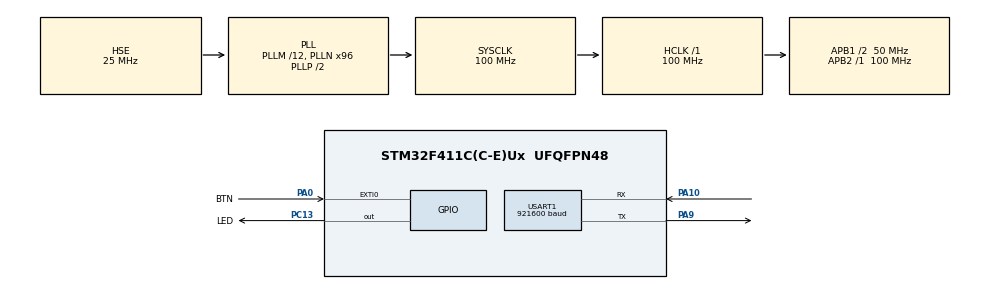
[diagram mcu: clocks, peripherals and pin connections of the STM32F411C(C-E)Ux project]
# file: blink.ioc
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Mcu.Family=STM32F4
Mcu.Name=STM32F411C(C-E)Ux
Mcu.Package=UFQFPN48
NVIC.EXTI0_IRQn=true\:0\:0\:false\:false\:true\:true\:true\:true
NVIC.PriorityGroup=NVIC_PRIORITYGROUP_4
NVIC.RCC_IRQn=true\:0\:0\:false\:false\:true\:true\:false\:true
PA0-WKUP.GPIO_Label=BTN
PA0-WKUP.GPIO_ModeDefaultEXTI=GPIO_MODE_IT_RISING_FALLING
PA0-WKUP.GPIO_PuPd=GPIO_PULLUP
PA0-WKUP.Signal=GPXTI0
PA10.Mode=Asynchronous
PA10.Signal=USART1_RX
PA13.Mode=Serial_Wire
PA13.Signal=SYS_JTMS-SWDIO
PA14.Mode=Serial_Wire
PA14.Signal=SYS_JTCK-SWCLK
PA9.Mode=Asynchronous
PA9.Signal=USART1_TX
PC13-ANTI_TAMP.GPIO_Label=LED
PC13-ANTI_TAMP.GPIO_ModeDefaultOutputPP=GPIO_MODE_OUTPUT_OD
PC13-ANTI_TAMP.PinState=GPIO_PIN_SET
PC13-ANTI_TAMP.Signal=GPIO_Output
PH0\ -\ OSC_IN.Mode=HSE-External-Oscillator
PH0\ -\ OSC_IN.Signal=RCC_OSC_IN
PH1\ -\ OSC_OUT.Mode=HSE-External-Oscillator
PH1\ -\ OSC_OUT.Signal=RCC_OSC_OUT
ProjectManager.HeapSize=0x200
ProjectManager.StackSize=0x400
ProjectManager.TargetToolchain=STM32CubeIDE
RCC.48MHZClocksFreq_Value=50000000
RCC.AHBFreq_Value=100000000
RCC.APB1CLKDivider=RCC_HCLK_DIV2
RCC.APB1Freq_Value=50000000
RCC.APB1TimFreq_Value=100000000
RCC.APB2Freq_Value=100000000
RCC.APB2TimFreq_Value=100000000
RCC.CortexFreq_Value=100000000
RCC.HCLKFreq_Value=100000000
RCC.HSE_VALUE=25000000
RCC.HSI_VALUE=16000000
RCC.LSE_VALUE=32768
RCC.PLLM=12
RCC.PLLN=96
RCC.PLLSourceVirtual=RCC_PLLSOURCE_HSE
RCC.SYSCLKFreq_VALUE=100000000
RCC.SYSCLKSource=RCC_SYSCLKSOURCE_PLLCLK
RCC.VCOOutputFreq_Value=200000000
USART1.BaudRate=921600
USART1.VirtualMode=VM_ASYNC
board=custom

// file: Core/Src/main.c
/* USER CODE BEGIN Header */
/**
 ******************************************************************************
 * @file           : main.c
 * @brief          : Main program body
 ******************************************************************************
 * @attention
 *
 * <h2><center>&copy; Copyright (c) 2022 Lars Boegild Thomsen <lbthomsen@gmail.com>
 * All rights reserved.</center></h2>
 *
 * This software component is licensed under MIT license,
 * the "License"; You may not use this file except in compliance with the
 * License. You may obtain a copy of the License at:
 *                        opensource.org/licenses/MIT
 *
 ******************************************************************************
 */
/* USER CODE END Header */
#include "main.h"

/* USER CODE BEGIN Includes */
#include "stdio.h"
/* USER CODE END Includes */

/* USER CODE BEGIN PD */
//#define DFU_BOOT_FLAG 0xDEADBEEF
/* USER CODE END PD */

UART_HandleTypeDef huart1;

/* USER CODE BEGIN PV */
extern int _estack;
uint32_t *dfu_boot_flag;
uint32_t push_count = 0;
uint32_t cnt = 0;
/* USER CODE END PV */

void SystemClock_Config(void);
static void MX_GPIO_Init(void);
static void MX_USART1_UART_Init(void);

/* USER CODE BEGIN 0 */

// Send printf to uart1
int _write(int fd, char *ptr, int len) {
	HAL_StatusTypeDef hstatus;

	if (fd == 1 || fd == 2) {
		hstatus = HAL_UART_Transmit(&huart1, (uint8_t*) ptr, len,
				HAL_MAX_DELAY);
		if (hstatus == HAL_OK)
			return len;
		else
			return -1;
	}
	return -1;
}

//void HAL_GPIO_EXTI_Callback(uint16_t GPIO_Pin) {
//	if (GPIO_Pin == BTN_Pin) // If the button
//	{
//		GPIO_PinState pinState = HAL_GPIO_ReadPin(BTN_GPIO_Port, BTN_Pin);
//		if (pinState == GPIO_PIN_RESET) {
//			push_count = HAL_GetTick();
//		} else {
//			if (HAL_GetTick() - push_count > 1000) {
//				// Set the boot flag and reset the mcu.  The bootloader
//				// will detect the flag and stay in dfu mode.  This will
//				// screw up the stack but that won't matter since the device
//				// is reset immediately after.
//				*dfu_boot_flag = DFU_BOOT_FLAG;
//				HAL_NVIC_SystemReset();
//			}
//			push_count = 0;
//		}
//
//	}
//}

/* USER CODE END 0 */

int main(void)
{
  /* USER CODE BEGIN 1 */
	//dfu_boot_flag = (uint32_t*) (&_estack - 100); // 100 bytes below top of stack
  /* USER CODE END 1 */

  /* MCU Configuration--------------------------------------------------------*/

  /* Reset of all peripherals, Initializes the Flash interface and the Systick. */
  HAL_Init();

  /* Configure the system clock */
  SystemClock_Config();

  /* Initialize all configured peripherals */
  MX_GPIO_Init();
  MX_USART1_UART_Init();

  /* Infinite loop */
  /* USER CODE BEGIN WHILE */

	uint32_t now = 0, blink = 0, print = 0;

	while (1) {

		now = HAL_GetTick();

		if (now - blink >= 500) {

			HAL_GPIO_TogglePin(LED_GPIO_Port, LED_Pin);

			blink = now;

		}

		if (now - print >= 1000) {

			printf("Tick, now = %lu\n", now);
			++cnt;

			print = now;
		}

    /* USER CODE END WHILE */

	}
}

void SystemClock_Config(void)
{
  RCC_OscInitTypeDef RCC_OscInitStruct = {0};
  RCC_ClkInitTypeDef RCC_ClkInitStruct = {0};

  /** Configure the main internal regulator output voltage
  */
  __HAL_RCC_PWR_CLK_ENABLE();
  __HAL_PWR_VOLTAGESCALING_CONFIG(PWR_REGULATOR_VOLTAGE_SCALE1);

  /** Initializes the RCC Oscillators according to the specified parameters
  * in the RCC_OscInitTypeDef structure.
  */
  RCC_OscInitStruct.OscillatorType = RCC_OSCILLATORTYPE_HSE;
  RCC_OscInitStruct.HSEState = RCC_HSE_ON;
  RCC_OscInitStruct.PLL.PLLState = RCC_PLL_ON;
  RCC_OscInitStruct.PLL.PLLSource = RCC_PLLSOURCE_HSE;
  RCC_OscInitStruct.PLL.PLLM = 12;
  RCC_OscInitStruct.PLL.PLLN = 96;
  RCC_OscInitStruct.PLL.PLLP = RCC_PLLP_DIV2;
  RCC_OscInitStruct.PLL.PLLQ = 4;
  if (HAL_RCC_OscConfig(&RCC_OscInitStruct) != HAL_OK)
  {
    Error_Handler();
  }

  /** Initializes the CPU, AHB and APB buses clocks
  */
  RCC_ClkInitStruct.ClockType = RCC_CLOCKTYPE_HCLK|RCC_CLOCKTYPE_SYSCLK
                              |RCC_CLOCKTYPE_PCLK1|RCC_CLOCKTYPE_PCLK2;
  RCC_ClkInitStruct.SYSCLKSource = RCC_SYSCLKSOURCE_PLLCLK;
  RCC_ClkInitStruct.AHBCLKDivider = RCC_SYSCLK_DIV1;
  RCC_ClkInitStruct.APB1CLKDivider = RCC_HCLK_DIV2;
  RCC_ClkInitStruct.APB2CLKDivider = RCC_HCLK_DIV1;

  if (HAL_RCC_ClockConfig(&RCC_ClkInitStruct, FLASH_LATENCY_3) != HAL_OK)
  {
    Error_Handler();
  }
}

static void MX_USART1_UART_Init(void)
{

  huart1.Instance = USART1;
  huart1.Init.BaudRate = 921600;
  huart1.Init.WordLength = UART_WORDLENGTH_8B;
  huart1.Init.StopBits = UART_STOPBITS_1;
  huart1.Init.Parity = UART_PARITY_NONE;
  huart1.Init.Mode = UART_MODE_TX_RX;
  huart1.Init.HwFlowCtl = UART_HWCONTROL_NONE;
  huart1.Init.OverSampling = UART_OVERSAMPLING_16;
  if (HAL_UART_Init(&huart1) != HAL_OK)
  {
    Error_Handler();
  }

}

static void MX_GPIO_Init(void)
{
  GPIO_InitTypeDef GPIO_InitStruct = {0};

  /* GPIO Ports Clock Enable */
  __HAL_RCC_GPIOC_CLK_ENABLE();
  __HAL_RCC_GPIOH_CLK_ENABLE();
  __HAL_RCC_GPIOA_CLK_ENABLE();

  /*Configure GPIO pin Output Level */
  HAL_GPIO_WritePin(LED_GPIO_Port, LED_Pin, GPIO_PIN_SET);

  /*Configure GPIO pin : LED_Pin */
  GPIO_InitStruct.Pin = LED_Pin;
  GPIO_InitStruct.Mode = GPIO_MODE_OUTPUT_OD;
  GPIO_InitStruct.Pull = GPIO_NOPULL;
  GPIO_InitStruct.Speed = GPIO_SPEED_FREQ_LOW;
  HAL_GPIO_Init(LED_GPIO_Port, &GPIO_InitStruct);

  /*Configure GPIO pin : BTN_Pin */
  GPIO_InitStruct.Pin = BTN_Pin;
  GPIO_InitStruct.Mode = GPIO_MODE_IT_RISING_FALLING;
  GPIO_InitStruct.Pull = GPIO_PULLUP;
  HAL_GPIO_Init(BTN_GPIO_Port, &GPIO_InitStruct);

  /* EXTI interrupt init*/
  HAL_NVIC_SetPriority(EXTI0_IRQn, 0, 0);
  HAL_NVIC_EnableIRQ(EXTI0_IRQn);

}

void Error_Handler(void)
{
	__disable_irq();
	while (1) {
	}
}
